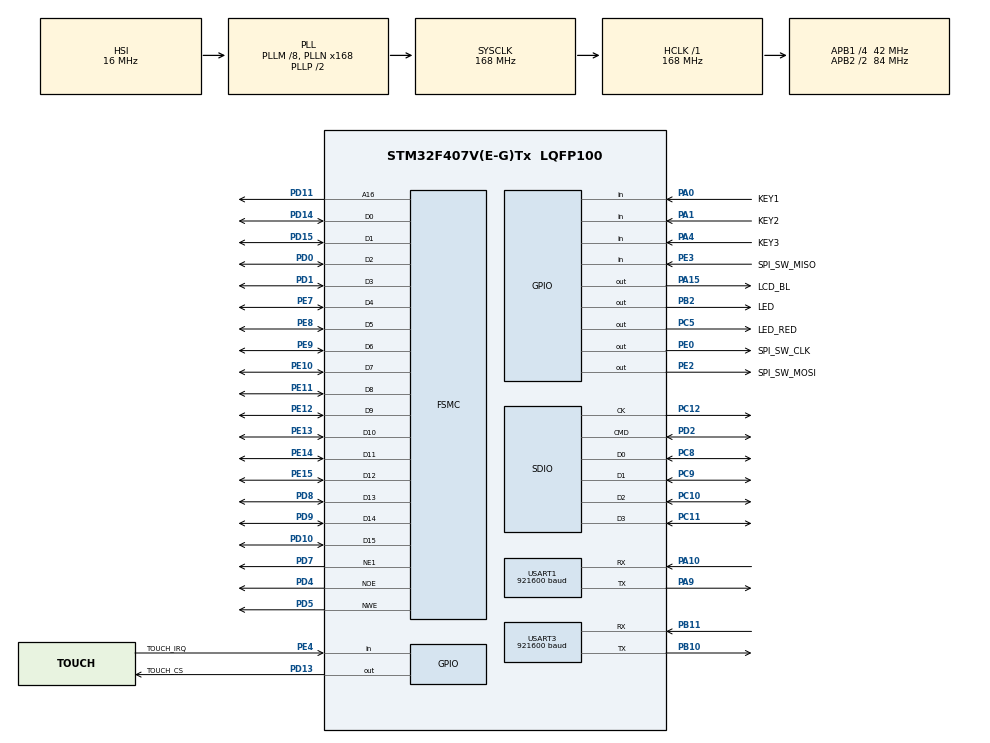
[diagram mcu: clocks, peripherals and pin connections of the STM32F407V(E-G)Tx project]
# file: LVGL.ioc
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Dma.Request0=USART3_RX
Dma.Request1=USART3_TX
Dma.Request2=SDIO_RX
Dma.Request3=SDIO_TX
Dma.Request4=USART1_TX
Dma.Request5=USART1_RX
Dma.SDIO_RX.2.Direction=DMA_PERIPH_TO_MEMORY
Dma.SDIO_RX.2.FIFOMode=DMA_FIFOMODE_ENABLE
Dma.SDIO_RX.2.FIFOThreshold=DMA_FIFO_THRESHOLD_FULL
Dma.SDIO_RX.2.Instance=DMA2_Stream3
Dma.SDIO_RX.2.MemBurst=DMA_MBURST_INC4
Dma.SDIO_RX.2.MemDataAlignment=DMA_MDATAALIGN_WORD
Dma.SDIO_RX.2.MemInc=DMA_MINC_ENABLE
Dma.SDIO_RX.2.Mode=DMA_PFCTRL
Dma.SDIO_RX.2.PeriphBurst=DMA_PBURST_INC4
Dma.SDIO_RX.2.PeriphDataAlignment=DMA_PDATAALIGN_WORD
Dma.SDIO_RX.2.PeriphInc=DMA_PINC_DISABLE
Dma.SDIO_RX.2.Priority=DMA_PRIORITY_LOW
Dma.SDIO_TX.3.Direction=DMA_MEMORY_TO_PERIPH
Dma.SDIO_TX.3.FIFOMode=DMA_FIFOMODE_ENABLE
Dma.SDIO_TX.3.FIFOThreshold=DMA_FIFO_THRESHOLD_FULL
Dma.SDIO_TX.3.Instance=DMA2_Stream6
Dma.SDIO_TX.3.MemBurst=DMA_MBURST_INC4
Dma.SDIO_TX.3.MemDataAlignment=DMA_MDATAALIGN_WORD
Dma.SDIO_TX.3.MemInc=DMA_MINC_ENABLE
Dma.SDIO_TX.3.Mode=DMA_PFCTRL
Dma.SDIO_TX.3.PeriphBurst=DMA_PBURST_INC4
Dma.SDIO_TX.3.PeriphDataAlignment=DMA_PDATAALIGN_WORD
Dma.SDIO_TX.3.PeriphInc=DMA_PINC_DISABLE
Dma.SDIO_TX.3.Priority=DMA_PRIORITY_LOW
Dma.USART1_RX.5.Direction=DMA_PERIPH_TO_MEMORY
Dma.USART1_RX.5.FIFOMode=DMA_FIFOMODE_DISABLE
Dma.USART1_RX.5.Instance=DMA2_Stream2
Dma.USART1_RX.5.MemDataAlignment=DMA_MDATAALIGN_BYTE
Dma.USART1_RX.5.MemInc=DMA_MINC_ENABLE
Dma.USART1_RX.5.Mode=DMA_NORMAL
Dma.USART1_RX.5.PeriphDataAlignment=DMA_PDATAALIGN_BYTE
Dma.USART1_RX.5.PeriphInc=DMA_PINC_DISABLE
Dma.USART1_RX.5.Priority=DMA_PRIORITY_LOW
Dma.USART1_TX.4.Direction=DMA_MEMORY_TO_PERIPH
Dma.USART1_TX.4.FIFOMode=DMA_FIFOMODE_DISABLE
Dma.USART1_TX.4.Instance=DMA2_Stream7
Dma.USART1_TX.4.MemDataAlignment=DMA_MDATAALIGN_BYTE
Dma.USART1_TX.4.MemInc=DMA_MINC_ENABLE
Dma.USART1_TX.4.Mode=DMA_NORMAL
Dma.USART1_TX.4.PeriphDataAlignment=DMA_PDATAALIGN_BYTE
Dma.USART1_TX.4.PeriphInc=DMA_PINC_DISABLE
Dma.USART1_TX.4.Priority=DMA_PRIORITY_LOW
Dma.USART3_RX.0.Direction=DMA_PERIPH_TO_MEMORY
Dma.USART3_RX.0.FIFOMode=DMA_FIFOMODE_DISABLE
Dma.USART3_RX.0.Instance=DMA1_Stream1
Dma.USART3_RX.0.MemDataAlignment=DMA_MDATAALIGN_BYTE
Dma.USART3_RX.0.MemInc=DMA_MINC_ENABLE
Dma.USART3_RX.0.Mode=DMA_NORMAL
Dma.USART3_RX.0.PeriphDataAlignment=DMA_PDATAALIGN_BYTE
Dma.USART3_RX.0.PeriphInc=DMA_PINC_DISABLE
Dma.USART3_RX.0.Priority=DMA_PRIORITY_LOW
Dma.USART3_TX.1.Direction=DMA_MEMORY_TO_PERIPH
Dma.USART3_TX.1.FIFOMode=DMA_FIFOMODE_DISABLE
Dma.USART3_TX.1.Instance=DMA1_Stream3
Dma.USART3_TX.1.MemDataAlignment=DMA_MDATAALIGN_BYTE
Dma.USART3_TX.1.MemInc=DMA_MINC_ENABLE
Dma.USART3_TX.1.Mode=DMA_NORMAL
Dma.USART3_TX.1.PeriphDataAlignment=DMA_PDATAALIGN_BYTE
Dma.USART3_TX.1.PeriphInc=DMA_PINC_DISABLE
Dma.USART3_TX.1.Priority=DMA_PRIORITY_LOW
FATFS._CODE_PAGE=936
FATFS._FS_EXFAT=1
FATFS._USE_LFN=3
FREERTOS.Tasks01=defaultTask,24,1024,StartDefaultTask,Default,NULL,Dynamic,NULL,NULL;LED_TASK,8,128,os_led_task,Default,NULL,Dynamic,NULL,NULL;LOG_TASK,24,256,os_log_task,Default,NULL,Dynamic,NULL,NULL;LVGL_TASK,24,128,os_lvgl_task,Default,NULL,Dynamic,NULL,NULL
FREERTOS.configTOTAL_HEAP_SIZE=15360
FSMC.BusTurnAroundDuration1=0
FSMC.DataSetupTime1=60
FSMC.ExtendedAddressSetupTime1=9
FSMC.ExtendedBusTurnAroundDuration1=0
FSMC.ExtendedDataSetupTime1=8
FSMC.ExtendedMode1=FSMC_EXTENDED_MODE_ENABLE
Mcu.Family=STM32F4
Mcu.Name=STM32F407V(E-G)Tx
Mcu.Package=LQFP100
NVIC.DMA1_Stream1_IRQn=true\:5\:0\:false\:false\:true\:true\:false\:true\:true
NVIC.DMA1_Stream3_IRQn=true\:5\:0\:false\:false\:true\:true\:false\:true\:true
NVIC.DMA2_Stream2_IRQn=true\:5\:0\:false\:false\:true\:true\:false\:true\:true
NVIC.DMA2_Stream3_IRQn=true\:5\:0\:false\:false\:true\:true\:false\:true\:true
NVIC.DMA2_Stream6_IRQn=true\:5\:0\:false\:false\:true\:true\:false\:true\:true
NVIC.DMA2_Stream7_IRQn=true\:5\:0\:false\:false\:true\:true\:false\:true\:true
NVIC.PriorityGroup=NVIC_PRIORITYGROUP_4
NVIC.SDIO_IRQn=true\:5\:0\:false\:false\:true\:true\:true\:true\:true
NVIC.TIM6_DAC_IRQn=true\:1\:0\:true\:false\:true\:false\:true\:true\:true
NVIC.TIM8_TRG_COM_TIM14_IRQn=true\:15\:0\:false\:false\:true\:false\:false\:true\:true
NVIC.TimeBase=TIM8_TRG_COM_TIM14_IRQn
NVIC.TimeBaseIP=TIM14
NVIC.USART1_IRQn=true\:5\:0\:false\:false\:true\:true\:false\:true\:true
NVIC.USART3_IRQn=true\:5\:0\:false\:false\:true\:true\:false\:true\:true
PA0-WKUP.GPIO_Label=KEY1
PA0-WKUP.GPIO_PuPd=GPIO_PULLDOWN
PA0-WKUP.Signal=GPIO_Input
PA1.GPIO_Label=KEY2
PA1.GPIO_Mode=GPIO_MODE_INPUT
PA1.GPIO_PuPd=GPIO_PULLUP
PA1.Signal=GPIO_Input
PA10.Mode=Asynchronous
PA10.Signal=USART1_RX
PA13.Mode=Serial_Wire
PA13.Signal=SYS_JTMS-SWDIO
PA14.Mode=Serial_Wire
PA14.Signal=SYS_JTCK-SWCLK
PA15.GPIO_Label=LCD_BL
PA15.GPIO_PuPd=GPIO_PULLUP
PA15.Signal=GPIO_Output
PA4.GPIO_Label=KEY3
PA4.GPIO_Mode=GPIO_MODE_INPUT
PA4.GPIO_PuPd=GPIO_PULLUP
PA4.Signal=GPIO_Input
PA9.Mode=Asynchronous
PA9.Signal=USART1_TX
PB10.Mode=Asynchronous
PB10.Signal=USART3_TX
PB11.Mode=Asynchronous
PB11.Signal=USART3_RX
PB2.GPIO_Label=LED
PB2.GPIO_ModeDefaultOutputPP=GPIO_MODE_OUTPUT_PP
PB2.GPIO_PuPd=GPIO_PULLUP
PB2.GPIO_Speed=GPIO_SPEED_FREQ_VERY_HIGH
PB2.Signal=GPIO_Output
PC10.Mode=SD_4_bits_Wide_bus
PC10.Signal=SDIO_D2
PC11.Mode=SD_4_bits_Wide_bus
PC11.Signal=SDIO_D3
PC12.Mode=SD_4_bits_Wide_bus
PC12.Signal=SDIO_CK
PC14-OSC32_IN.Mode=LSE-External-Oscillator
PC14-OSC32_IN.Signal=RCC_OSC32_IN
PC15-OSC32_OUT.Mode=LSE-External-Oscillator
PC15-OSC32_OUT.Signal=RCC_OSC32_OUT
PC5.GPIO_Label=LED_RED
PC5.GPIO_ModeDefaultOutputPP=GPIO_MODE_OUTPUT_PP
PC5.GPIO_PuPd=GPIO_PULLUP
PC5.GPIO_Speed=GPIO_SPEED_FREQ_VERY_HIGH
PC5.Signal=GPIO_Output
PC8.Mode=SD_4_bits_Wide_bus
PC8.Signal=SDIO_D0
PC9.Mode=SD_4_bits_Wide_bus
PC9.Signal=SDIO_D1
PD0.Mode=16b-d1
PD0.Signal=FSMC_D2
PD1.Mode=16b-d1
PD1.Signal=FSMC_D3
PD10.Mode=16b-d1
PD10.Signal=FSMC_D15
PD11.Mode=A16_1
PD11.Signal=FSMC_A16
PD13.GPIO_Label=TOUCH_CS
PD13.GPIO_PuPd=GPIO_PULLUP
PD13.GPIO_Speed=GPIO_SPEED_FREQ_VERY_HIGH
PD13.Signal=GPIO_Output
PD14.Mode=16b-d1
PD14.Signal=FSMC_D0
PD15.Mode=16b-d1
PD15.Signal=FSMC_D1
PD2.Mode=SD_4_bits_Wide_bus
PD2.Signal=SDIO_CMD
PD4.Mode=Lcd1
PD4.Signal=FSMC_NOE
PD5.Mode=Lcd1
PD5.Signal=FSMC_NWE
PD7.Mode=NorPsramChipSelect1_1
PD7.Signal=FSMC_NE1
PD8.Mode=16b-d1
PD8.Signal=FSMC_D13
PD9.Mode=16b-d1
PD9.Signal=FSMC_D14
PE0.GPIO_Label=SPI_SW_CLK
PE0.GPIO_PuPd=GPIO_PULLUP
PE0.GPIO_Speed=GPIO_SPEED_FREQ_VERY_HIGH
PE0.Signal=GPIO_Output
PE10.Mode=16b-d1
PE10.Signal=FSMC_D7
PE11.Mode=16b-d1
PE11.Signal=FSMC_D8
PE12.Mode=16b-d1
PE12.Signal=FSMC_D9
PE13.Mode=16b-d1
PE13.Signal=FSMC_D10
PE14.Mode=16b-d1
PE14.Signal=FSMC_D11
PE15.Mode=16b-d1
PE15.Signal=FSMC_D12
PE2.GPIO_Label=SPI_SW_MOSI
PE2.GPIO_PuPd=GPIO_PULLUP
PE2.GPIO_Speed=GPIO_SPEED_FREQ_VERY_HIGH
PE2.Signal=GPIO_Output
PE3.GPIO_Label=SPI_SW_MISO
PE3.GPIO_PuPd=GPIO_PULLUP
PE3.Signal=GPIO_Input
PE4.GPIO_Label=TOUCH_IRQ
PE4.GPIO_PuPd=GPIO_PULLUP
PE4.Signal=GPIO_Input
PE7.Mode=16b-d1
PE7.Signal=FSMC_D4
PE8.Mode=16b-d1
PE8.Signal=FSMC_D5
PE9.Mode=16b-d1
PE9.Signal=FSMC_D6
PH0-OSC_IN.Mode=HSE-External-Oscillator
PH0-OSC_IN.Signal=RCC_OSC_IN
PH1-OSC_OUT.Mode=HSE-External-Oscillator
PH1-OSC_OUT.Signal=RCC_OSC_OUT
ProjectManager.HeapSize=0x1000
ProjectManager.StackSize=0x1000
ProjectManager.TargetToolchain=CMake
RCC.48MHZClocksFreq_Value=48000000
RCC.AHBFreq_Value=168000000
RCC.APB1CLKDivider=RCC_HCLK_DIV4
RCC.APB1Freq_Value=42000000
RCC.APB1TimFreq_Value=84000000
RCC.APB2CLKDivider=RCC_HCLK_DIV2
RCC.APB2Freq_Value=84000000
RCC.APB2TimFreq_Value=168000000
RCC.CortexFreq_Value=168000000
RCC.HCLKFreq_Value=168000000
RCC.HSE_VALUE=25000000
RCC.HSI_VALUE=16000000
RCC.PLLM=8
RCC.PLLN=168
RCC.PLLQ=7
RCC.SYSCLKFreq_VALUE=168000000
RCC.SYSCLKSource=RCC_SYSCLKSOURCE_PLLCLK
RCC.VCOOutputFreq_Value=336000000
SDIO.ClockDiv=4
TIM6.Period=1000-1
TIM6.Prescaler=84-1
USART1.BaudRate=921600
USART1.VirtualMode=VM_ASYNC
USART3.BaudRate=921600
USART3.VirtualMode=VM_ASYNC
VP_FATFS_VS_SDIO.Mode=SDIO
VP_FREERTOS_VS_CMSIS_V2.Mode=CMSIS_V2
VP_SYS_VS_tim14.Mode=TIM14
VP_TIM6_VS_ClockSourceINT.Mode=Enable_Timer
board=custom

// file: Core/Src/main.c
/* USER CODE BEGIN Header */
/**
  ******************************************************************************
  * @file           : main.c
  * @brief          : Main program body
  ******************************************************************************
  * @attention
  *
  * Copyright (c) 2025 STMicroelectronics.
  * All rights reserved.
  *
  * This software is licensed under terms that can be found in the LICENSE file
  * in the root directory of this software component.
  * If no LICENSE file comes with this software, it is provided AS-IS.
  *
  ******************************************************************************
  */
/* USER CODE END Header */
#include "main.h"
#include "cmsis_os.h"
#include "dma.h"
#include "fatfs.h"
#include "sdio.h"
#include "tim.h"
#include "usart.h"
#include "gpio.h"
#include "fsmc.h"

void SystemClock_Config(void);
void MX_FREERTOS_Init(void);

int main(void)
{

  /* MCU Configuration--------------------------------------------------------*/

  /* Reset of all peripherals, Initializes the Flash interface and the Systick. */
  HAL_Init();

  /* Configure the system clock */
  SystemClock_Config();

  /* Initialize all configured peripherals */
  MX_GPIO_Init();
  MX_DMA_Init();
  MX_USART3_UART_Init();
  MX_FSMC_Init();
  MX_SDIO_SD_Init();
  MX_FATFS_Init();
  MX_USART1_UART_Init();
  MX_TIM6_Init();

  /* Init scheduler */
  osKernelInitialize();  /* Call init function for freertos objects (in cmsis_os2.c) */
  MX_FREERTOS_Init();

  /* Start scheduler */
  osKernelStart();

  /* We should never get here as control is now taken by the scheduler */

  /* Infinite loop */
  while (1)
  {

  }
}

void SystemClock_Config(void)
{
  RCC_OscInitTypeDef RCC_OscInitStruct = {0};
  RCC_ClkInitTypeDef RCC_ClkInitStruct = {0};

  /** Configure the main internal regulator output voltage
  */
  __HAL_RCC_PWR_CLK_ENABLE();
  __HAL_PWR_VOLTAGESCALING_CONFIG(PWR_REGULATOR_VOLTAGE_SCALE1);

  /** Initializes the RCC Oscillators according to the specified parameters
  * in the RCC_OscInitTypeDef structure.
  */
  RCC_OscInitStruct.OscillatorType = RCC_OSCILLATORTYPE_HSI;
  RCC_OscInitStruct.HSIState = RCC_HSI_ON;
  RCC_OscInitStruct.HSICalibrationValue = RCC_HSICALIBRATION_DEFAULT;
  RCC_OscInitStruct.PLL.PLLState = RCC_PLL_ON;
  RCC_OscInitStruct.PLL.PLLSource = RCC_PLLSOURCE_HSI;
  RCC_OscInitStruct.PLL.PLLM = 8;
  RCC_OscInitStruct.PLL.PLLN = 168;
  RCC_OscInitStruct.PLL.PLLP = RCC_PLLP_DIV2;
  RCC_OscInitStruct.PLL.PLLQ = 7;
  if (HAL_RCC_OscConfig(&RCC_OscInitStruct) != HAL_OK)
  {
    Error_Handler();
  }

  /** Initializes the CPU, AHB and APB buses clocks
  */
  RCC_ClkInitStruct.ClockType = RCC_CLOCKTYPE_HCLK|RCC_CLOCKTYPE_SYSCLK
                              |RCC_CLOCKTYPE_PCLK1|RCC_CLOCKTYPE_PCLK2;
  RCC_ClkInitStruct.SYSCLKSource = RCC_SYSCLKSOURCE_PLLCLK;
  RCC_ClkInitStruct.AHBCLKDivider = RCC_SYSCLK_DIV1;
  RCC_ClkInitStruct.APB1CLKDivider = RCC_HCLK_DIV4;
  RCC_ClkInitStruct.APB2CLKDivider = RCC_HCLK_DIV2;

  if (HAL_RCC_ClockConfig(&RCC_ClkInitStruct, FLASH_LATENCY_5) != HAL_OK)
  {
    Error_Handler();
  }
}

void HAL_TIM_PeriodElapsedCallback(TIM_HandleTypeDef *htim)
{
  if (htim->Instance == TIM14)
  {
    HAL_IncTick();
  }
  /* USER CODE BEGIN Callback 1 */
  if (htim->Instance == TIM6) {
    extern void lv_tick_inc(uint32_t tick_period);
    lv_tick_inc(1);  // LVGL heartbeat: 1ms tick
  }
  /* USER CODE END Callback 1 */
}

void Error_Handler(void)
{
  __disable_irq();
  while (1)
  {
  }
}

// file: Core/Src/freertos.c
/* USER CODE BEGIN Header */
/**
  ******************************************************************************
  * File Name          : freertos.c
  * Description        : Code for freertos applications
  ******************************************************************************
  * @attention
  *
  * Copyright (c) 2025 STMicroelectronics.
  * All rights reserved.
  *
  * This software is licensed under terms that can be found in the LICENSE file
  * in the root directory of this software component.
  * If no LICENSE file comes with this software, it is provided AS-IS.
  *
  ******************************************************************************
  */
/* USER CODE END Header */

#include "FreeRTOS.h"
#include "task.h"
#include "main.h"
#include "cmsis_os.h"

/* USER CODE BEGIN Includes */
#include "app.h"
/* USER CODE END Includes */

/* Definitions for defaultTask */
osThreadId_t defaultTaskHandle;
const osThreadAttr_t defaultTask_attributes = {
  .name = "defaultTask",
  .stack_size = 1024 * 10,
  .priority = (osPriority_t) osPriorityNormal,
};
/* Definitions for LED_TASK */
osThreadId_t LED_TASKHandle;
const osThreadAttr_t LED_TASK_attributes = {
  .name = "LED_TASK",
  .stack_size = 128 * 4,
  .priority = (osPriority_t) osPriorityLow,
};
/* Definitions for LOG_TASK */
osThreadId_t LOG_TASKHandle;
const osThreadAttr_t LOG_TASK_attributes = {
  .name = "LOG_TASK",
  .stack_size = 256 * 4,
  .priority = (osPriority_t) osPriorityNormal,
};
/* Definitions for LVGL_TASK */
osThreadId_t LVGL_TASKHandle;
const osThreadAttr_t LVGL_TASK_attributes = {
  .name = "LVGL_TASK",
  .stack_size = 128 * 4,
  .priority = (osPriority_t) osPriorityNormal,
};

void StartDefaultTask(void *argument);
void os_led_task(void *argument);
void os_log_task(void *argument);
void os_lvgl_task(void *argument);

void MX_FREERTOS_Init(void); /* (MISRA C 2004 rule 8.1) */

void MX_FREERTOS_Init(void) {
  /* USER CODE BEGIN Init */
  app_sys_init();
  /* USER CODE END Init */

  /* Create the thread(s) */
  /* creation of defaultTask */
  defaultTaskHandle = osThreadNew(StartDefaultTask, NULL, &defaultTask_attributes);

  /* creation of LED_TASK */
  LED_TASKHandle = osThreadNew(os_led_task, NULL, &LED_TASK_attributes);

  /* creation of LOG_TASK */
  LOG_TASKHandle = osThreadNew(os_log_task, NULL, &LOG_TASK_attributes);

  /* creation of LVGL_TASK */
  LVGL_TASKHandle = osThreadNew(os_lvgl_task, NULL, &LVGL_TASK_attributes);

}

void StartDefaultTask(void *argument)
{
  /* USER CODE BEGIN StartDefaultTask */
  UNUSED(argument);
  app_default_task();
  osThreadExit();
  /* Infinite loop */
  for(;;)
  {
    osDelay(osWaitForever);
  }
  /* USER CODE END StartDefaultTask */
}

void os_led_task(void *argument)
{
  /* USER CODE BEGIN os_led_task */
  UNUSED(argument);
  app_led_task();
  osThreadExit();
  /* Infinite loop */
  for(;;)
  {
    osDelay(osWaitForever);
  }
  /* USER CODE END os_led_task */
}

void os_log_task(void *argument)
{
  /* USER CODE BEGIN os_log_task */
  /* Infinite loop */
  UNUSED(argument);
  app_log_task();
  osThreadExit();
  /* Infinite loop */
  for(;;)
  {
    osDelay(osWaitForever);
  }
  /* USER CODE END os_log_task */
}

void os_lvgl_task(void *argument)
{
  /* USER CODE BEGIN os_lvgl_task */
  /* Infinite loop */
  UNUSED(argument);
  app_sd_task();
  osThreadExit();
  /* Infinite loop */
  for(;;)
  {
    osDelay(osWaitForever);
  }
  /* USER CODE END os_lvgl_task */
}
